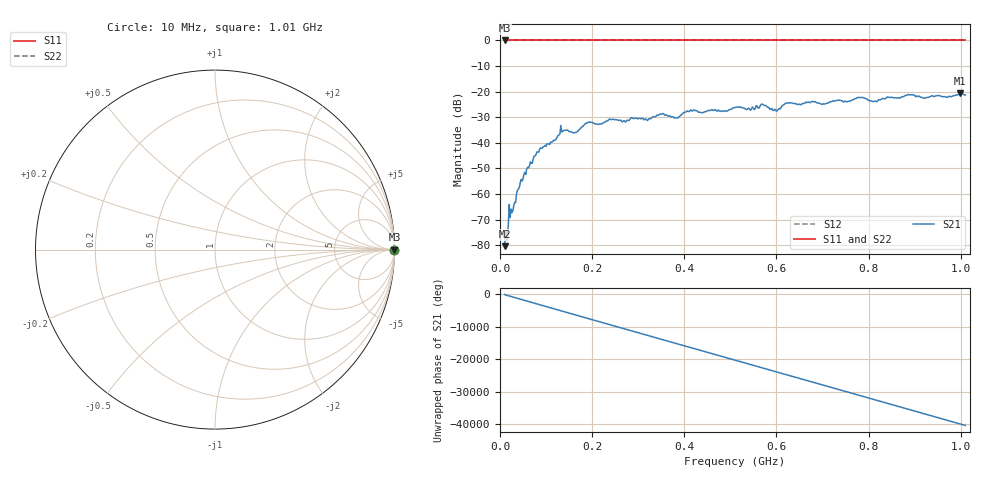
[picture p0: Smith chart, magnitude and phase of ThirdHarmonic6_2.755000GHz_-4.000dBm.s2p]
! 8/17/2025 6:54:55 AM
! C:\ANRITSUVNA\TEMP\TEMP.S2P
! CHANNEL.1
! TR.MEASUREMENT
! RAW.DATA
! RF.CORRECTION.OFF
! AVERAGING.OFF
! IF.BANDWIDTH: 5KHZ
! SWEEPTYPE:  FREQ.SWEEP(Linear)
! Reference Plane Port Info
! PORT:  PORT1  PORT2
! DISTANCE:  0  m  0  m
! TIME:  0  s  0  s
! PHASE.OFFSET:  0  deg.  0  deg.
! LOSS:  0  dB  0  dB
! REF.LOSS:  0  dB  0  dB
! REF.FREQ:  0  Hz  0  Hz
! Power Info
! POWER:  -20  dBm  -20  dBm
! EFF.POWER:  -20  dBm  -20  dBm
! SOURCE.ATTEN:  0  dB  0  dB
! TEST.ATTEN:  0  dB  0  dB
# GHZ S RI R 50.0
! FREQ.GHZ  S11RE  S11IM  S21RE  S21IM  S12RE  S12IM  S22RE  S22IM
!; PortSelection: Port_12
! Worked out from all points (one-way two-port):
!   501 points, 10 MHz to 1.01 GHz, reference 50 ohm
!   highest |S21| = -20.65 dB at 998 MHz (marker M1); lowest = -80.3 dB at 10 MHz (marker M2)
!   lowest |S11| = 0.0 dB at 10 MHz (marker M3)
!   |S11| at or under -10 dB: nowhere
!   |S22| runs from 0.0 to 0.0 dB; largest |S21 - S12| = 1.1
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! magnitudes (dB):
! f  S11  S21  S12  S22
! 10 MHz  0.0  -80.3  0.0  0.0
! 14 MHz  0.0  -74.9  0.0  0.0
! 22 MHz  0.0  -69.2  0.0  0.0
! 30 MHz  0.0  -64.4  0.0  0.0
! 42 MHz  0.0  -57.3  0.0  0.0
! 78 MHz  0.0  -44.7  0.0  0.0
! 136 MHz  0.0  -35.5  0.0  0.0
! 162 MHz  0.0  -36.0  0.0  0.0
! 178 MHz  0.0  -33.7  0.0  0.0
! 194 MHz  0.0  -31.8  0.0  0.0
! 318 MHz  0.0  -31.0  0.0  0.0
! 344 MHz  0.0  -29.2  0.0  0.0
! 382 MHz  0.0  -30.2  0.0  0.0
! 410 MHz  0.0  -27.8  0.0  0.0
! 510 MHz  0.0  -26.2  0.0  0.0
! 570 MHz  0.0  -24.9  0.0  0.0
! 598 MHz  0.0  -27.2  0.0  0.0
! 622 MHz  0.0  -24.5  0.0  0.0
! 678 MHz  0.0  -23.8  0.0  0.0
! 844 MHz  0.0  -22.2  0.0  0.0
! 998 MHz  0.0  -20.6  0.0  0.0
! 1.01 GHz  0.0  -21.3  0.0  0.0
